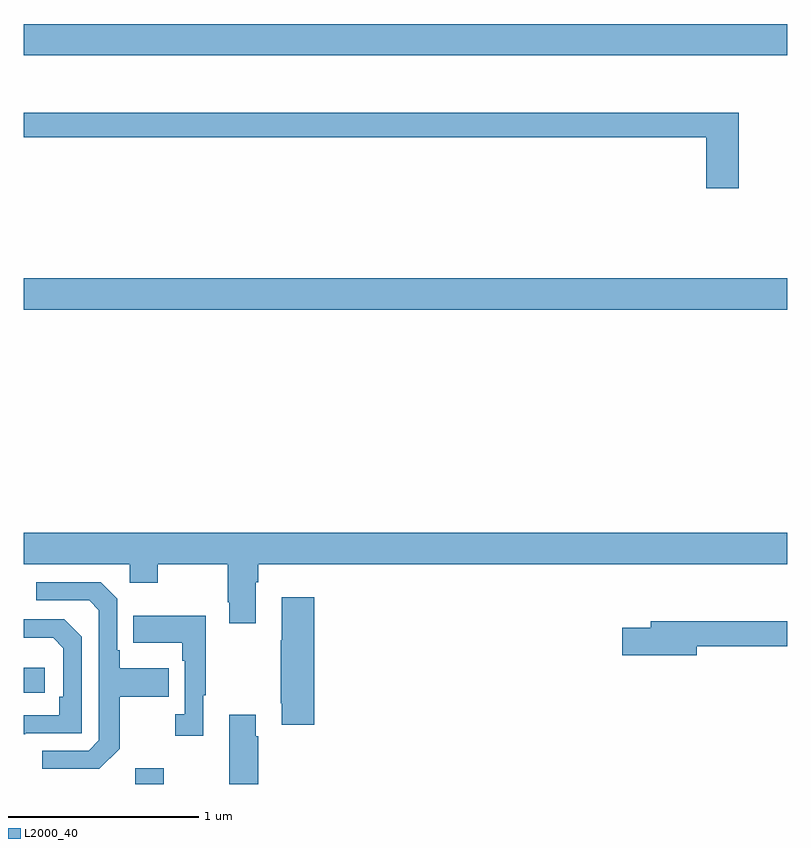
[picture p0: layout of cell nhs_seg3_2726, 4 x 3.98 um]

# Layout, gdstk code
import gdstk
lib = gdstk.Library(unit=1e-6, precision=1e-09)
def R(c, l, rs):  # rectangles x0, y0, x1, y1
    for r in rs: c.add(gdstk.rectangle(r[:2], r[2:], *l))
def P(c, l, *ps):  # polygons
    for p in ps: c.add(gdstk.Polygon(p, *l))
L2000_40 = (2000, 40)

nhs_seg3_2726 = lib.new_cell('nhs_seg3_2726')
R(nhs_seg3_2726, L2000_40, [(251.585,730.4,251.733,730.483), (251,730.878,251.11,731.008), (251,732.884,255,733.048), (251,734.216,255,734.38)])
P(nhs_seg3_2726, L2000_40, [(254.746,733.915),(251,733.915),(251,733.786),(254.576,733.786),(254.576,733.521),(254.746,733.521)],
  [(252.217,731.456),(252.23,731.456),(252.23,731.552),(255,731.552),(255,731.716),(251,731.716),(251,731.552),(251.556,731.552),(251.556,731.453),(251.703,731.453),(251.703,731.552),(252.07,731.552),(252.07,731.353),(252.077,731.353),(252.077,731.241),(252.217,731.241)],
  [(251.503,730.585),(251.503,730.858),(251.759,730.858),(251.759,731.005),(251.503,731.005),(251.503,731.101),(251.49,731.101),(251.49,731.37),(251.403,731.457),(251.067,731.457),(251.067,731.361),(251.343,731.361),(251.394,731.31),(251.394,730.629),(251.34,730.575),(251.097,730.575),(251.097,730.479),(251.397,730.479)],
  [(252.521,731.377),(252.353,731.377),(252.353,731.153),(252.346,731.153),(252.346,730.822),(252.353,730.822),(252.353,730.71),(252.521,730.71)],
  [(251.941,730.865),(251.953,730.865),(251.953,731.281),(251.575,731.281),(251.575,731.141),(251.832,731.141),(251.832,731.045),(251.844,731.045),(251.844,730.766),(251.793,730.766),(251.793,730.653),(251.941,730.653)],
  [(251.009,730.665),(251.304,730.665),(251.304,731.172),(251.214,731.262),(251,731.262),(251,731.165),(251.155,731.165),(251.208,731.112),(251.208,730.858),(251.188,730.858),(251.188,730.761),(251,730.761),(251,730.66),(251.009,730.66)],
  [(254.524,731.122),(255,731.122),(255,731.251),(254.285,731.251),(254.285,731.217),(254.136,731.217),(254.136,731.075),(254.524,731.075)],
  [(252.23,730.649),(252.217,730.649),(252.217,730.762),(252.077,730.762),(252.077,730.4),(252.23,730.4)])

lib.write_gds('nhs_seg3_2726.gds')
